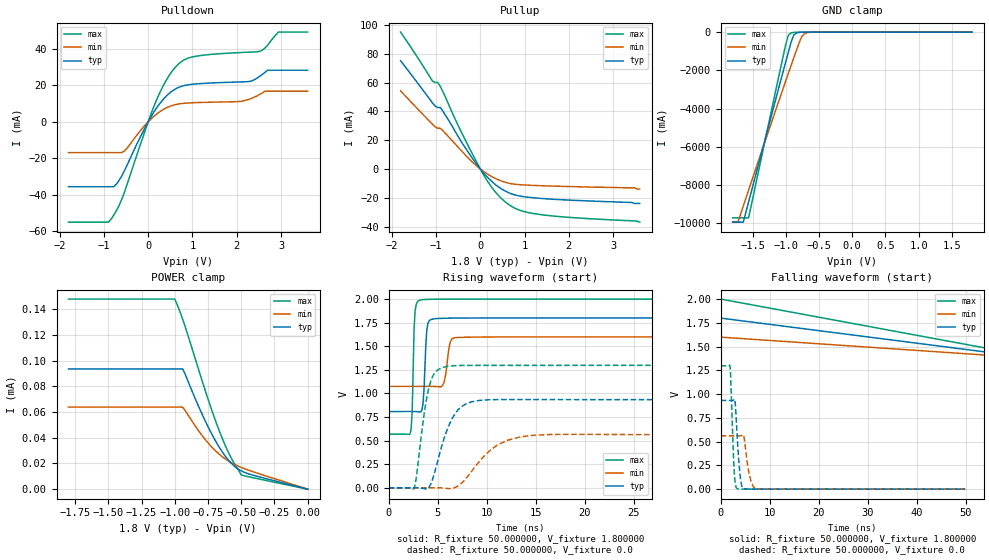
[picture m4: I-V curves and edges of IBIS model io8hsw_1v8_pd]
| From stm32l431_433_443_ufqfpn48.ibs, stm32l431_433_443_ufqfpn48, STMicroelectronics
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|   Model io8hsw_1v8_pd
[Model]  io8hsw_1v8_pd
Model_type I/O
Polarity   Non-Inverting
Enable   Active-Low
Vinl =   0.540000V
Vinh =   1.260000V
Vmeas =  0.900000V
Cref =   100.000000nF
Rref =   1.000000k
Vref =   1.800000V
C_comp   3.002500pF   2.845500pF   3.023700pF
[Temperature Range]   25.000000   0.125000k   -40.000000
[Pullup Reference]   1.800000V   1.600000V   2.000000V
[Pulldown Reference]   0.0V   0.0V   0.0V
[POWER Clamp Reference]   1.800000V   1.600000V   2.000000V
[GND Clamp Reference]   0.0V   0.0V   0.0V
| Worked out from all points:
|   slope of the pulldown table from 0 to 0.27 V, typ, clamps not added: 26.4 ohm
|   slope of the pullup table from 0 to 0.27 V, typ, clamps not added: 30.1 ohm
|   GND clamp passes 1 mA (typ) near -0.58 V on its own axis
|   rising waveform, R_fixture 50.000000, V_fixture 1.800000: 20-80 % time 265ps typ, 405ps min, 197ps max; typ from 0.808 V to 1.8 V
|   rising waveform, R_fixture 50.000000, V_fixture 0.0: 20-80 % time 1.79ns typ, 3.04ns min, 1.06ns max; typ from 0 V to 0.934 V
|   falling waveform, R_fixture 50.000000, V_fixture 1.800000: 20-80 % time 90.1ns typ, 90.1ns min, 90.1ns max; typ from 1.8 V to 0.808 V
|   falling waveform, R_fixture 50.000000, V_fixture 0.0: 20-80 % time 717ps typ, 1.03ns min, 552ps max; typ from 0.934 V to 0 V
[Pulldown]
|Voltage   I(typ)   I(min)   I(max)
-1.8V     -35.64mA   -16.93mA   -55.1mA
-840mV    -35.64mA   -16.93mA   -53.52mA
-720mV    -34.31mA   -16.93mA   -48.86mA
-540mV    -27.04mA   -16.13mA   -38.89mA
240mV     9.303mA    5.14mA     14.78mA
480mV     15.67mA    8.374mA    25.64mA
720mV     19.18mA    9.883mA    32.46mA
1.08V     20.76mA    10.49mA    35.95mA
2.1V      21.86mA    11.27mA    37.98mA
2.52V     24.96mA    15mA       38.63mA
2.94V     28.28mA    16.76mA    49.19mA
3.6V      28.28mA    16.76mA    49.19mA
[Pullup]
|Voltage   I(typ)   I(min)   I(max)
-1.8V     75.12mA    54.21mA    95.03mA
-1.08V    45.85mA    31.08mA    61.01mA
-960mV    42.6mA     28.23mA    60.05mA
-900mV    42.6mA     28.23mA    57.07mA
-480mV    21.53mA    14.44mA    28.9mA
0V        0A         0A         0A
300mV     -9.801mA   -6.008mA   -14.46mA
600mV     -15.96mA   -9.582mA   -23.81mA
900mV     -18.89mA   -10.98mA   -28.81mA
1.32V     -20.37mA   -11.6mA    -31.56mA
3.48V     -24mA      -13.1mA    -36.1mA
3.6V      -24mA      -14mA      -37mA
[GND_clamp]
|Voltage   I(typ)   I(min)   I(max)
-1.8V     -9.93A     -9.932A    -9.707A
-1.72V    -9.93A     -9.932A    -9.707A
-1.64V    -9.93A     -9.083A    -9.707A
-1.56V    -8.876A    -8.251A    -9.707A
-1V       -1.54A     -2.541A    -631mA
-960mV    -1.028A    -2.139A    -153.8mA
-920mV    -527mA     -1.74A     -39.13mA
-880mV    -155.7mA   -1.344A    -18.02mA
-840mV    -45.33mA   -953mA     -12.69mA
-760mV    -8.431mA   -235mA     -7.631mA
-680mV    -3.453mA   -33.02mA   -3.876mA
1.8V      47.6uA     51.88uA    39.21uA
[POWER_clamp]
|Voltage   I(typ)   I(min)   I(max)
-1.8V     93.65uA    63.98uA    148.1uA
-1V       93.65uA    63.98uA    148.1uA
-940mV    93.65uA    63.82uA    132.2uA
-780mV    55.19uA    39.85uA    79.88uA
-720mV    42.64uA    32.64uA    61.13uA
-680mV    35.2uA     28.59uA    49.56uA
-640mV    28.65uA    25.14uA    38.93uA
-600mV    23.11uA    22.24uA    29.46uA
-560mV    18.7uA     19.84uA    21.37uA
-500mV    14.28uA    16.96uA    11.08uA
-400mV    10.58uA    13.2uA     8.679uA
0V        0A         0A         0A
[Ramp]
| variable   typ   min   max
dV/dt_r  0.56023/1.79164n   0.33654/3.03413n   0.77832/1.05431n
dV/dt_f  0.59460/1.73191n   0.31470/3.04193n   0.85885/0.96386n
R_load = 50.000000
[Rising Waveform]
R_fixture= 50.000000
V_fixture= 1.800000
V_fixture_min= 1.600000
V_fixture_max= 2.000000
|time   V(typ)   V(min)   V(max)
0s        808.4mV    1.075V     568.2mV
2.202ns   808.4mV    1.075V     574.8mV
2.402ns   808.4mV    1.075V     803.9mV
2.703ns   808.1mV    1.075V     1.873V
3.203ns   802.5mV    1.075V     1.989V
3.504ns   892mV      1.075V     1.994V
3.904ns   1.679V     1.075V     1.996V
4.505ns   1.788V     1.074V     1.998V
6.907ns   1.798V     1.591V     1.999V
49.85ns   1.799V     1.599V     2V
[Rising Waveform]
R_fixture= 50.000000
V_fixture= 0.0
V_fixture_min= 0.0
V_fixture_max= 0.0
|time   V(typ)   V(min)   V(max)
0s        166.6uV    293uV      105.2uV
2.603ns   181.7uV    292.9uV    -7.395mV
4.104ns   3.216mV    298.2uV    1.058V
4.605ns   130.8mV    358.9uV    1.202V
5.506ns   471.4mV    -2.182mV   1.275V
6.507ns   739.2mV    -5.831mV   1.292V
7.708ns   878.5mV    78.29mV    1.296V
10.31ns   932.8mV    392.3mV    1.297V
13.51ns   935.1mV    540.7mV    1.297V
49.85ns   933.9mV    561.3mV    1.297V
[Falling Waveform]
R_fixture= 50.000000
V_fixture= 1.800000
V_fixture_min= 1.600000
V_fixture_max= 2.000000
|time   V(typ)   V(min)   V(max)
0s        1.799V     1.599V     2V
150.2ns   808.4mV    1.075V     568.2mV
300.3ns   808.4mV    1.075V     568.2mV
14.86us   808.4mV    1.075V     568.2mV
[Falling Waveform]
R_fixture= 50.000000
V_fixture= 0.0
V_fixture_min= 0.0
V_fixture_max= 0.0
|time   V(typ)   V(min)   V(max)
0s        933.9mV    561.3mV    1.297V
1.902ns   933.9mV    561.3mV    1.299V
2.803ns   947.5mV    561.3mV    154mV
3.403ns   521.2mV    561.1mV    5.124mV
3.904ns   171.1mV    560.8mV    1.966mV
4.304ns   36.08mV    566mV      1.367mV
4.705ns   8.186mV    560.6mV    1.045mV
5.906ns   1.326mV    138.3mV    592.8uV
7.207ns   631.2uV    5.859mV    411.5uV
49.85ns   166.6uV    293uV      105.2uV
